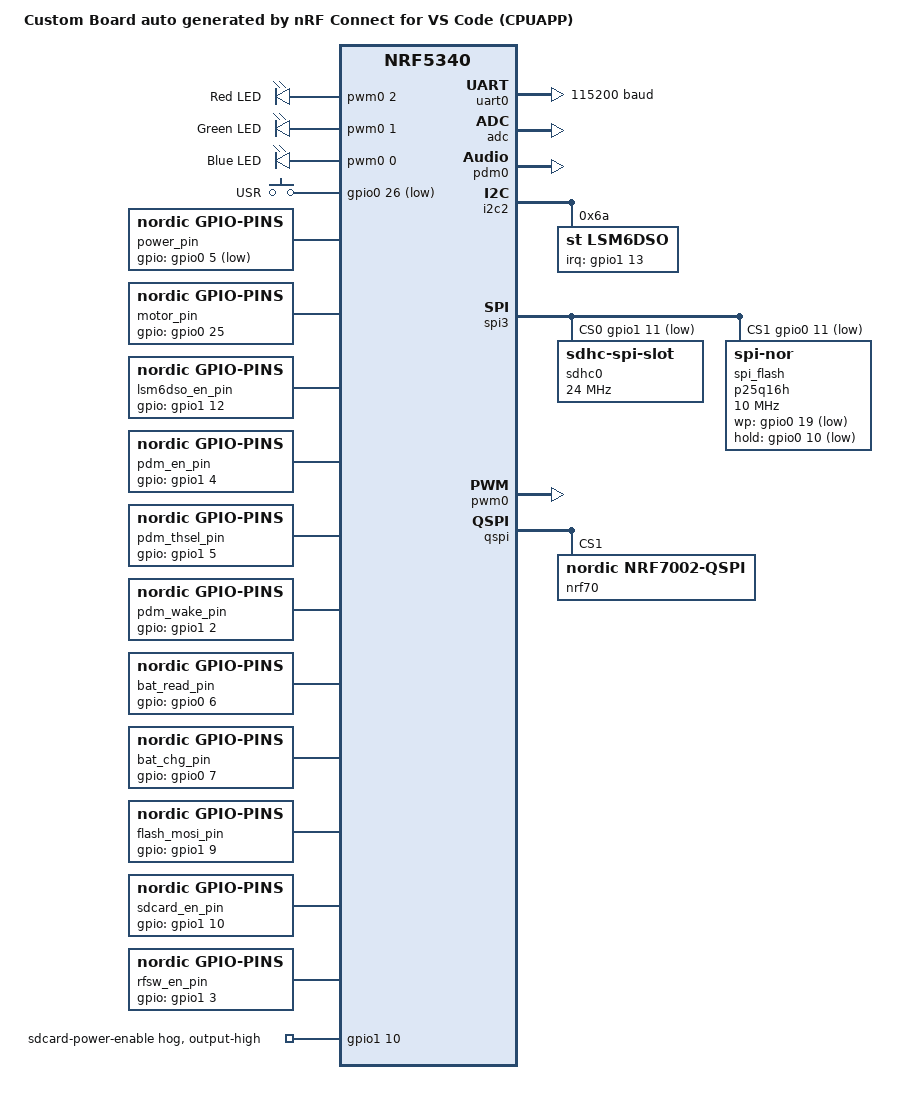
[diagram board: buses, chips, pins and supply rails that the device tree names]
/dts-v1/;
#include <nordic/nrf5340_cpuapp_qkaa.dtsi>
#include "omi-pinctrl.dtsi"
#include <zephyr/dt-bindings/sensor/lsm6dso.h>

/ {
	model = "Custom Board auto generated by nRF Connect for VS Code (CPUAPP)";
	compatible = "omi,omi-cpuapp";

	leds {
		compatible = "pwm-leds";
		led_red: led_red {
			label = "Red LED";
			pwms = <&pwm0 2 PWM_USEC(1000) PWM_POLARITY_INVERTED>;
		};
		led_green: led_green {
			label = "Green LED";
			pwms = <&pwm0 1 PWM_USEC(1000) PWM_POLARITY_INVERTED>;
		};
		led_blue: led_blue {
			label = "Blue LED";
			pwms = <&pwm0 0 PWM_USEC(1000) PWM_POLARITY_INVERTED>;
		};
	};
	
	buttons: buttons {
		compatible = "gpio-keys";
		usr_btn: usr-btn {
			gpios = <&gpio0 26 (GPIO_PULL_UP | GPIO_ACTIVE_LOW)>;
			label = "USR";
			zephyr,code = <INPUT_KEY_ENTER>;
		};
	};

	power_pin: power {
		compatible = "nordic,gpio-pins";
		gpios = <&gpio0 5 GPIO_ACTIVE_LOW>;
		status = "okay";
	};

	motor_pin: motor {
		compatible = "nordic,gpio-pins";
		gpios = <&gpio0 25 GPIO_ACTIVE_HIGH>;
		status = "okay";
	};
	
	lsm6dso_en_pin: lsm6dso_en_pin {
		compatible = "nordic,gpio-pins";
		gpios = <&gpio1 12 GPIO_ACTIVE_HIGH>;
		status = "okay";
	};
	
	pdm_en_pin: pdm_en_pin {
		compatible = "nordic,gpio-pins";
		gpios = <&gpio1 4 GPIO_ACTIVE_HIGH>;
		status = "okay";
	};
	
	pdm_thsel_pin: pdm_thsel_pin {
		compatible = "nordic,gpio-pins";
		gpios = <&gpio1 5 GPIO_ACTIVE_HIGH>;
		status = "okay";
	};
	
	pdm_wake_pin: pdm_wake_pin {
		compatible = "nordic,gpio-pins";
		gpios = <&gpio1 2 GPIO_ACTIVE_HIGH>;
		status = "okay";
	};
	
	bat_read_pin: bat_read_pin {
		compatible = "nordic,gpio-pins";
		gpios = <&gpio0 6 GPIO_ACTIVE_HIGH>;
		status = "okay";
	};
	
	bat_chg_pin: bat_chg_pin {
		compatible = "nordic,gpio-pins";
		gpios = <&gpio0 7 GPIO_ACTIVE_HIGH>;
		status = "okay";
	};
	
	flash_mosi_pin: flash-mosi {
		compatible = "nordic,gpio-pins";
		gpios = <&gpio1 9 GPIO_ACTIVE_HIGH>;
		status = "okay";
	};
	
	sdcard_en_pin: sdcard-en {
		compatible = "nordic,gpio-pins";
		gpios = <&gpio1 10 GPIO_ACTIVE_HIGH>;
		status = "okay";
	};

	rfsw_en_pin: rfsw-en {
		compatible = "nordic,gpio-pins";
		gpios = <&gpio1 3 GPIO_ACTIVE_HIGH>;
		status = "okay";
	};

	chosen {
		zephyr,sram = &sram0_image;
		zephyr,flash = &flash0;
		zephyr,code-partition = &slot0_partition;
		zephyr,sram-secure-partition = &sram0_s;
		zephyr,sram-non-secure-partition = &sram0_ns;
		zephyr,console = &uart0;
		zephyr,shell-uart = &uart0;
		zephyr,bt-hci = &bt_hci_ipc0;
		nordic,802154-spinel-ipc = &ipc0;
		zephyr,ieee802154 = &ieee802154;
		zephyr,wifi = &wlan0;
		nordic,pm-ext-flash = &spi_flash;
	};
	aliases {
		dmic0 = &pdm0;
		buttons = &buttons;
	};
};

&gpio0 {
	status = "okay";
	// power_hog {
	// 	gpios = <5 GPIO_ACTIVE_LOW>;
	// 	output-low;
	// 	gpio-hog;
	// };
};

&gpio1 {
    status = "okay";
    sdcard_power_default_on: sdcard_power_default_on {
        gpio-hog;
        gpios = <10 GPIO_ACTIVE_HIGH>; /* Corresponds to sdcard_en_pin P1.10 */
        output-high; /* Set pin high as it's GPIO_ACTIVE_HIGH */
        line-name = "sdcard-power-enable";
    };
};

&gpiote {
	status = "okay";
};

&uart0 {
	status = "okay";
	current-speed = <115200>;
	pinctrl-0 = <&uart0_default>;
	pinctrl-1 = <&uart0_sleep>;
	pinctrl-names = "default", "sleep";
};

&adc {
	status = "okay";
};

&clock {
	hfclkaudio-frequency = <12288000>;
};

&pdm0 {
	status = "okay";
	pinctrl-0 = <&pdm0_default>;
	pinctrl-names = "default";
	clock-source = "PCLK32M_HFXO";
	// #address-cells = < 0x1 >;
	// #size-cells = < 0x0 >;
	// t5838: t5838@0 {
	// 	status = "okay";
	// 	compatible = "invensense,t5838";
	// 	thsel-gpios = <&gpio1 5 GPIO_ACTIVE_HIGH>;
	// 	wake-gpios = <&gpio1 2 GPIO_ACTIVE_HIGH>;
	// 	pdmclk-gpios = <&gpio1 1 GPIO_ACTIVE_HIGH>;
	// 	reg = <0x0>;
	// };
};

&i2c2 {
	status = "okay";
	pinctrl-0 = <&i2c2_default>;
	pinctrl-1 = <&i2c2_sleep>;
	pinctrl-names = "default", "sleep";
	
	lsm6dso: lsm6dso@6a {
		compatible = "st,lsm6dso";
		reg = <0x6a>;
		irq-gpios = <&gpio1 13 GPIO_ACTIVE_HIGH>;
		accel-pm = <LSM6DSO_DT_XL_ULP_MODE>;
		gyro-pm = <LSM6DSO_DT_GY_NORMAL_MODE>;
		status = "okay";
	};
};

&spi3 {
	compatible = "nordic,nrf-spim";
	status = "okay";
	pinctrl-0 = <&spi3_default>;
	pinctrl-1 = <&spi3_sleep>;
	pinctrl-names = "default", "sleep";
	cs-gpios = <&gpio1 11 GPIO_ACTIVE_LOW>, <&gpio0 11 GPIO_ACTIVE_LOW>;
	
	sdhc0: sdhc@0 {
		compatible = "zephyr,sdhc-spi-slot";
		reg = <0>;
		status = "okay";
		mmc {
			compatible = "zephyr,sdmmc-disk";
			status = "okay";
		};
		spi-max-frequency = <24000000>;
	};
	
	spi_flash: p25q16h@1 {
		compatible = "jedec,spi-nor";
		status = "okay";
		reg = <1>;
		spi-max-frequency = <10000000>;
		quad-enable-requirements = "S2B1v1";
		wp-gpios = <&gpio0 19 GPIO_ACTIVE_LOW>;
		hold-gpios= <&gpio0 10 GPIO_ACTIVE_LOW>;
		jedec-id = [85 60 15];
		sfdp-bfp = [
		e5 20 f1 ff  ff ff ff 00  44 eb 08 6b  08 3b 80 bb
		ee ff ff ff  ff ff 00 ff  ff ff 00 ff  0c 20 0f 52
		10 d8 08 81
		];
		size = <DT_SIZE_M(16)>;
		has-dpd;
		t-enter-dpd = <3000>;
		t-exit-dpd = <8000>;
	};
};

&pwm0 {
	status = "okay";
	pinctrl-0 = <&pwm0_default>;
	pinctrl-1 = <&pwm0_sleep>;
	pinctrl-names = "default", "sleep";
};

&qspi {
	pinctrl-0 = <&qspi_default>;
	pinctrl-1 = <&qspi_sleep>;
	pinctrl-names = "default", "sleep";
	status = "okay";
	nrf70: nrf7002@1 {
		compatible = "nordic,nrf7002-qspi";
		status = "okay";
		reg = <1>;
		qspi-frequency = <24000000>;
		qspi-quad-mode;
		#include "nrf70_common.dtsi"
		#include "nrf70_common_5g.dtsi"
	};
};
#include <common/nordic/nrf5340_shared_sram_partition.dtsi>
#include <common/nordic/nrf5340_cpuapp_partition.dtsi>
